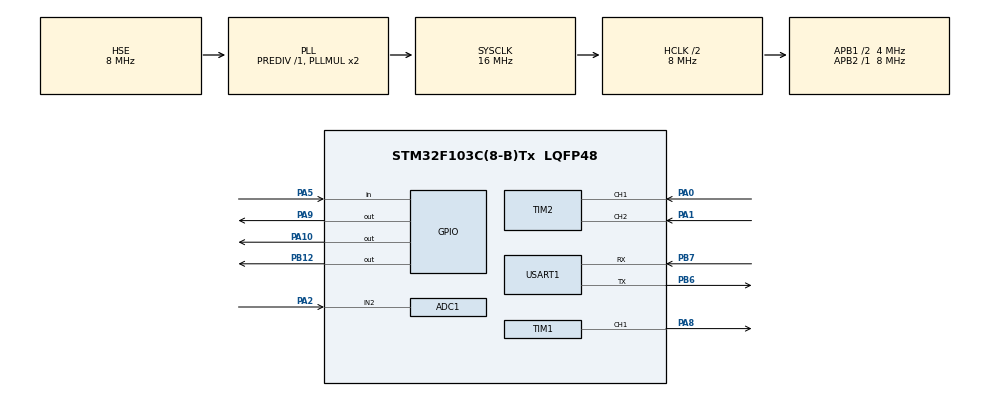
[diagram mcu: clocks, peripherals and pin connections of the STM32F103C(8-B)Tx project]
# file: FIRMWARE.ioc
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ADC1.Channel-4\#ChannelRegularConversion=ADC_CHANNEL_2
ADC1.NbrOfConversionFlag=1
ADC1.Rank-4\#ChannelRegularConversion=1
ADC1.SamplingTime-4\#ChannelRegularConversion=ADC_SAMPLETIME_1CYCLE_5
ADC1.master=1
Mcu.Family=STM32F1
Mcu.Name=STM32F103C(8-B)Tx
Mcu.Package=LQFP48
NVIC.PriorityGroup=NVIC_PRIORITYGROUP_4
NVIC.TIM3_IRQn=true\:0\:0\:false\:false\:true\:true\:true\:true
NVIC.USART1_IRQn=true\:1\:0\:true\:false\:true\:true\:true\:true
PA0-WKUP.Signal=S_TIM2_CH1_ETR
PA1.Signal=S_TIM2_CH2
PA10.Signal=GPIO_Output
PA13.Mode=Serial_Wire
PA13.Signal=SYS_JTMS-SWDIO
PA14.Mode=Serial_Wire
PA14.Signal=SYS_JTCK-SWCLK
PA2.Signal=ADCx_IN2
PA5.GPIO_PuPd=GPIO_PULLUP
PA5.Signal=GPIO_Input
PA8.Signal=S_TIM1_CH1
PA9.Signal=GPIO_Output
PB12.Signal=GPIO_Output
PB6.Mode=Asynchronous
PB6.Signal=USART1_TX
PB7.Mode=Asynchronous
PB7.Signal=USART1_RX
PD0-OSC_IN.Mode=HSE-External-Oscillator
PD0-OSC_IN.Signal=RCC_OSC_IN
PD1-OSC_OUT.Mode=HSE-External-Oscillator
PD1-OSC_OUT.Signal=RCC_OSC_OUT
ProjectManager.HeapSize=0x200
ProjectManager.StackSize=0x400
ProjectManager.TargetToolchain=MDK-ARM V5
RCC.ADCPresc=RCC_ADCPCLK2_DIV6
RCC.AHBCLKDivider=RCC_SYSCLK_DIV2
RCC.AHBFreq_Value=8000000
RCC.APB1CLKDivider=RCC_HCLK_DIV2
RCC.APB1Freq_Value=4000000
RCC.APB1TimFreq_Value=8000000
RCC.APB2Freq_Value=8000000
RCC.APB2TimFreq_Value=8000000
RCC.HCLKFreq_Value=8000000
RCC.PLLSourceVirtual=RCC_PLLSOURCE_HSE
RCC.SYSCLKFreq_VALUE=16000000
RCC.SYSCLKSource=RCC_SYSCLKSOURCE_PLLCLK
RCC.USBFreq_Value=16000000
SH.ADCx_IN2.0=ADC1_IN2,IN2
SH.S_TIM1_CH1.0=TIM1_CH1,PWM Generation1 CH1
SH.S_TIM2_CH1_ETR.0=TIM2_CH1,Encoder_Interface
SH.S_TIM2_CH2.0=TIM2_CH2,Encoder_Interface
TIM1.Channel-PWM\ Generation1\ CH1=TIM_CHANNEL_1
TIM1.Period=999
TIM1.Prescaler=79
TIM3.Period=49
TIM3.Prescaler=7999
USART1.VirtualMode=VM_ASYNC
VP_TIM3_VS_ClockSourceINT.Mode=Internal
board=custom

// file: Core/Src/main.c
/* USER CODE BEGIN Header */
/**
  ******************************************************************************
  * @file           : main.c
  * @brief          : Main program body
  ******************************************************************************
  * @attention
  *
  * Copyright (c) 2023 STMicroelectronics.
  * All rights reserved.
  *
  * This software is licensed under terms that can be found in the LICENSE file
  * in the root directory of this software component.
  * If no LICENSE file comes with this software, it is provided AS-IS.
  *
  ******************************************************************************
  */
/* USER CODE END Header */
#include "main.h"
#include "adc.h"
#include "tim.h"
#include "usart.h"
#include "gpio.h"

/* USER CODE BEGIN Includes */
#include "stdbool.h"
#include "string.h"
#include "stdio.h"
#include "math.h"
#include "stdlib.h"

/* USER CODE END Includes */

void SystemClock_Config(void);

/* USER CODE BEGIN 0 */
int BUFF_SIZE = 18;

uint8_t nRxData[18];
uint8_t nTxData[18];
uint8_t strCommand[4];
uint8_t strOpt[3];
uint8_t strData[8];
uint8_t Rx_Index = 0;
uint8_t Tx_Index = 0;
uint8_t Rx_flag = 0;
uint8_t Rx_data;
uint8_t data[8];

uint8_t STX[] = {0x02};
uint8_t ETX[] = {0x03};
uint8_t ACK[] = {0x06};
uint8_t SYN[] = {0x16};

uint8_t Closed[] = {0x43, 0x4C, 0x4F, 0x53};

uint8_t MOVL[] = {0x4D, 0x4F, 0x56, 0x4C};
uint8_t GPOS[] = {0x47, 0x50, 0x4F, 0x53};
uint8_t GSTT[] = {0x47, 0x53, 0x54, 0x54};
uint8_t GVEL[] = {0x47, 0x56, 0x45, 0x4C};
uint8_t NUL[] = {0x4E, 0x55, 0x4C, 0x4C};

bool bDataAvailable = false;

uint8_t eLED[] = {0x65, 0x4C, 0x45, 0x44};
uint8_t dLED[] = {0x64, 0x4C, 0x45, 0x44};
uint8_t bONN[] = {0x62, 0x4F, 0x4E, 0x4E};
uint8_t	bOFF[] = {0x62, 0x4F, 0x46, 0x46};
uint8_t bTOG[] = {0x62, 0x54, 0x4F, 0x47};
bool bLed = false;
bool bToggle = false;

uint8_t eBTN[] = {0x65, 0x42, 0x54, 0x4E};
uint8_t dBTN[] = {0x64, 0x42, 0x54, 0x4E};
uint8_t Btn_SingleClick[] = {0x53, 0x69, 0x6E, 0x67, 0x63, 0x6C, 0x69, 0x63};
uint8_t Btn_LongClick[] = {0x4C, 0x6F, 0x6E, 0x67, 0x63, 0x6C, 0x69, 0x63};
uint8_t Present_State_Btn;
uint8_t Next_State_Btn;
bool bBtn = false;
bool bSingleClick = false;
bool bLongClick = false;

uint8_t eLIG[] = {0x65, 0x4C, 0x49, 0x47};
uint8_t dLIG[] = {0x64, 0x4C, 0x49, 0x47};
uint8_t rLIG[] = {0x52, 0x55, 0x4E};
uint8_t sLIG[] = {0x53, 0x54, 0x4F};
uint16_t ADC_value;
char Light_Sensor[8];
bool bLight = false;

uint8_t ePWM[] = {0x65, 0x50, 0x57, 0x4D};
uint8_t dPWM[] = {0x64, 0x50, 0x57, 0x4D};
uint8_t bSET[] = {0x53, 0x45, 0x54};
uint8_t Duty;
int32_t counter_speed, counter_speed_last;
int CCR, ARR;
float speed;
bool bPwm = false;

bool StrCompare(uint8_t *pBuff, uint8_t *Sample, uint8_t nSize)
{
	for (int i=0; i< nSize; i++)
	{
		if (pBuff[i] != Sample[i])
		{
			return false;
		}
	}
	return true;
}

uint8_t *subString(uint8_t *s, int pos, int index)
{
	memset(data,0,sizeof(data));
	int j = pos;
	int k = pos + index;
	for (int i = pos; i < k; i++)
	{
		data[i-j] = s[i];
	}
	return data;
}

bool ReadComm(uint8_t *pBuff, uint8_t nSize)
{
	if ((pBuff[0] == STX[0]) && (pBuff[17] == ETX[0]))
	{
		memcpy(strCommand, subString(pBuff, 1, 4), 4);
		memcpy(strOpt, subString(pBuff, 5, 3), 3);
		memcpy(strData, subString(pBuff, 8, 8), 8);

		bDataAvailable = true;
	}
	else
	{
		bDataAvailable = false;
	}
	return bDataAvailable;
}

bool WriteComm(uint8_t *pBuff, uint8_t nSize)
{
	return HAL_UART_Transmit(&huart1, pBuff, nSize, 1000);
}
void SerialProcess(void)
{
	Tx_Index = 0;
	if(StrCompare(strCommand, MOVL, 4))
	{
		memcpy(nTxData + Tx_Index, STX, 1);
		Tx_Index +=1;
		memcpy(nTxData + Tx_Index, (uint8_t *)strCommand, 4);
		Tx_Index +=4;
		memcpy(nTxData + Tx_Index, (uint8_t *)strOpt, 3);
		Tx_Index +=3;
		memcpy(nTxData + Tx_Index, (uint8_t *)strData, 8);
		Tx_Index +=8;
		memcpy(nTxData + Tx_Index, ACK, 1);
		Tx_Index +=1;
		memcpy(nTxData + Tx_Index, ETX, 1);

		WriteComm(nTxData, BUFF_SIZE);
	}
	else if (StrCompare(strCommand, GPOS, 4))
	{
		memcpy(nTxData + Tx_Index, STX, 1);
		Tx_Index +=1;
		memcpy(nTxData + Tx_Index, (uint8_t *)strCommand, 4);
		Tx_Index +=4;
		memcpy(nTxData + Tx_Index, (uint8_t *)strOpt, 3);
		Tx_Index +=3;
		memcpy(nTxData + Tx_Index, (uint8_t *)strData, 8);
		Tx_Index +=8;
		memcpy(nTxData + Tx_Index, ACK, 1);
		Tx_Index +=1;
		memcpy(nTxData + Tx_Index, ETX, 1);

		WriteComm(nTxData, BUFF_SIZE);
	}
	else if (StrCompare(strCommand, GVEL, 4))
	{
		memcpy(nTxData + Tx_Index, STX, 1);
		Tx_Index +=1;
		memcpy(nTxData + Tx_Index, (uint8_t *)strCommand, 4);
		Tx_Index +=4;
		memcpy(nTxData + Tx_Index, (uint8_t *)strOpt, 3);
		Tx_Index +=3;
		memcpy(nTxData + Tx_Index, (uint8_t *)strData, 8);
		Tx_Index +=8;
		memcpy(nTxData + Tx_Index, ACK, 1);
		Tx_Index +=1;
		memcpy(nTxData + Tx_Index, ETX, 1);

		WriteComm(nTxData, BUFF_SIZE);
	}
	else if (StrCompare(strCommand, GSTT, 4))
	{
		memcpy(nTxData + Tx_Index, STX, 1);
		Tx_Index +=1;
		memcpy(nTxData + Tx_Index, (uint8_t *)strCommand, 4);
		Tx_Index +=4;
		memcpy(nTxData + Tx_Index, (uint8_t *)strOpt, 3);
		Tx_Index +=3;
		memcpy(nTxData + Tx_Index, (uint8_t *)strData, 8);
		Tx_Index +=8;
		memcpy(nTxData + Tx_Index, ACK, 1);
		Tx_Index +=1;
		memcpy(nTxData + Tx_Index, ETX, 1);

		WriteComm(nTxData, BUFF_SIZE);
	}
	else if(StrCompare(strCommand, eLED, 4))
	{
		memcpy(nTxData + Tx_Index, STX, 1);
		Tx_Index +=1;
		memcpy(nTxData + Tx_Index, (uint8_t *)strCommand, 4);
		Tx_Index +=4;
		memcpy(nTxData + Tx_Index, (uint8_t *)strOpt, 3);
		Tx_Index +=3;
		memcpy(nTxData + Tx_Index, (uint8_t *)strData, 8);
		Tx_Index +=8;
		memcpy(nTxData + Tx_Index, ACK, 1);
		Tx_Index +=1;
		memcpy(nTxData + Tx_Index, ETX, 1);

		WriteComm(nTxData, BUFF_SIZE);
	}
	else if(StrCompare(strCommand, dLED, 4))
	{
		memcpy(nTxData + Tx_Index, STX, 1);
		Tx_Index +=1;
		memcpy(nTxData + Tx_Index, (uint8_t *)strCommand, 4);
		Tx_Index +=4;
		memcpy(nTxData + Tx_Index, (uint8_t *)strOpt, 3);
		Tx_Index +=3;
		memcpy(nTxData + Tx_Index, (uint8_t *)strData, 8);
		Tx_Index +=8;
		memcpy(nTxData + Tx_Index, ACK, 1);
		Tx_Index +=1;
		memcpy(nTxData + Tx_Index, ETX, 1);

		WriteComm(nTxData, BUFF_SIZE);

		bLed = false;
		bToggle = false;
	}
	else if(StrCompare(strCommand, bONN, 4))
	{
		memcpy(nTxData + Tx_Index, STX, 1);
		Tx_Index +=1;
		memcpy(nTxData + Tx_Index, (uint8_t *)strCommand, 4);
		Tx_Index +=4;
		memcpy(nTxData + Tx_Index, (uint8_t *)strOpt, 3);
		Tx_Index +=3;
		memcpy(nTxData + Tx_Index, (uint8_t *)strData, 8);
		Tx_Index +=8;
		memcpy(nTxData + Tx_Index, ACK, 1);
		Tx_Index +=1;
		memcpy(nTxData + Tx_Index, ETX, 1);

		WriteComm(nTxData, BUFF_SIZE);

		bLed = true;
		bToggle = false;
	}
		else if(StrCompare(strCommand, bOFF, 4))
	{
		memcpy(nTxData + Tx_Index, STX, 1);
		Tx_Index +=1;
		memcpy(nTxData + Tx_Index, (uint8_t *)strCommand, 4);
		Tx_Index +=4;
		memcpy(nTxData + Tx_Index, (uint8_t *)strOpt, 3);
		Tx_Index +=3;
		memcpy(nTxData + Tx_Index, (uint8_t *)strData, 8);
		Tx_Index +=8;
		memcpy(nTxData + Tx_Index, ACK, 1);
		Tx_Index +=1;
		memcpy(nTxData + Tx_Index, ETX, 1);

		WriteComm(nTxData, BUFF_SIZE);

		bLed = false;
		bToggle = false;
	}
	else if(StrCompare(strCommand, bTOG, 4))
	{
		memcpy(nTxData + Tx_Index, STX, 1);
		Tx_Index +=1;
		memcpy(nTxData + Tx_Index, (uint8_t *)strCommand, 4);
		Tx_Index +=4;
		memcpy(nTxData + Tx_Index, (uint8_t *)strOpt, 3);
		Tx_Index +=3;
		memcpy(nTxData + Tx_Index, (uint8_t *)strData, 8);
		Tx_Index +=8;
		memcpy(nTxData + Tx_Index, ACK, 1);
		Tx_Index +=1;
		memcpy(nTxData + Tx_Index, ETX, 1);

		WriteComm(nTxData, BUFF_SIZE);

		bToggle = true;
		bLed = false;
	}
	else if(StrCompare(strCommand, eBTN, 4))
	{
		memcpy(nTxData + Tx_Index, STX, 1);
		Tx_Index +=1;
		memcpy(nTxData + Tx_Index, (uint8_t *)strCommand, 4);
		Tx_Index +=4;
		memcpy(nTxData + Tx_Index, (uint8_t *)strOpt, 3);
		Tx_Index +=3;
		memcpy(nTxData + Tx_Index, (uint8_t *)strData, 8);
		Tx_Index +=8;
		memcpy(nTxData + Tx_Index, ACK, 1);
		Tx_Index +=1;
		memcpy(nTxData + Tx_Index, ETX, 1);

		WriteComm(nTxData, BUFF_SIZE);

		bBtn = true;
	}
	else if(StrCompare(strCommand, dBTN, 4))
	{
		memcpy(nTxData + Tx_Index, STX, 1);
		Tx_Index +=1;
		memcpy(nTxData + Tx_Index, (uint8_t *)strCommand, 4);
		Tx_Index +=4;
		memcpy(nTxData + Tx_Index, (uint8_t *)strOpt, 3);
		Tx_Index +=3;
		memcpy(nTxData + Tx_Index, (uint8_t *)strData, 8);
		Tx_Index +=8;
		memcpy(nTxData + Tx_Index, ACK, 1);
		Tx_Index +=1;
		memcpy(nTxData + Tx_Index, ETX, 1);

		WriteComm(nTxData, BUFF_SIZE);

		bBtn = false;
	}
	else if(StrCompare(strCommand, eLIG, 4))
	{
		memcpy(nTxData + Tx_Index, STX, 1);
		Tx_Index +=1;
		memcpy(nTxData + Tx_Index, (uint8_t *)strCommand, 4);
		Tx_Index +=4;
		memcpy(nTxData + Tx_Index, (uint8_t *)strOpt, 3);
		Tx_Index +=3;
		memcpy(nTxData + Tx_Index, (uint8_t *)strData, 8);
		Tx_Index +=8;
		memcpy(nTxData + Tx_Index, ACK, 1);
		Tx_Index +=1;
		memcpy(nTxData + Tx_Index, ETX, 1);

		WriteComm(nTxData, BUFF_SIZE);

		HAL_Delay(100);

		if(StrCompare(strOpt, rLIG, 3))
			bLight = true;
		else if(StrCompare(strOpt, sLIG, 3))
			bLight = false;
	}
	else if(StrCompare(strCommand, dLIG, 4))
	{
		memcpy(nTxData + Tx_Index, STX, 1);
		Tx_Index +=1;
		memcpy(nTxData + Tx_Index, (uint8_t *)strCommand, 4);
		Tx_Index +=4;
		memcpy(nTxData + Tx_Index, (uint8_t *)strOpt, 3);
		Tx_Index +=3;
		memcpy(nTxData + Tx_Index, (uint8_t *)strData, 8);
		Tx_Index +=8;
		memcpy(nTxData + Tx_Index, ACK, 1);
		Tx_Index +=1;
		memcpy(nTxData + Tx_Index, ETX, 1);

		WriteComm(nTxData, BUFF_SIZE);

		bLight = false;
	}
	else if(StrCompare(strCommand, ePWM, 4))
	{
		memcpy(nTxData + Tx_Index, STX, 1);
		Tx_Index +=1;
		memcpy(nTxData + Tx_Index, (uint8_t *)strCommand, 4);
		Tx_Index +=4;
		memcpy(nTxData + Tx_Index, (uint8_t *)strOpt, 3);
		Tx_Index +=3;
		memcpy(nTxData + Tx_Index, (uint8_t *)strData, 8);
		Tx_Index +=8;
		memcpy(nTxData + Tx_Index, ACK, 1);
		Tx_Index +=1;
		memcpy(nTxData + Tx_Index, ETX, 1);

		WriteComm(nTxData, BUFF_SIZE);

		if(StrCompare(strOpt, bSET, 3))
		{
			bPwm = true;
			Duty = atoi((char *)strData);
		}
	}
	else if(StrCompare(strCommand, dPWM, 4))
	{
		memcpy(nTxData + Tx_Index, STX, 1);
		Tx_Index +=1;
		memcpy(nTxData + Tx_Index, (uint8_t *)strCommand, 4);
		Tx_Index +=4;
		memcpy(nTxData + Tx_Index, (uint8_t *)strOpt, 3);
		Tx_Index +=3;
		memcpy(nTxData + Tx_Index, (uint8_t *)strData, 8);
		Tx_Index +=8;
		memcpy(nTxData + Tx_Index, ACK, 1);
		Tx_Index +=1;
		memcpy(nTxData + Tx_Index, ETX, 1);

		bPwm = false;

		WriteComm(nTxData, BUFF_SIZE);
	}
	else if(StrCompare(strCommand, Closed, 4))
	{
		memcpy(nTxData + Tx_Index, STX, 1);
		Tx_Index +=1;
		memcpy(nTxData + Tx_Index, (uint8_t *)strCommand, 4);
		Tx_Index +=4;
		memcpy(nTxData + Tx_Index, (uint8_t *)strOpt, 3);
		Tx_Index +=3;
		memcpy(nTxData + Tx_Index, (uint8_t *)strData, 8);
		Tx_Index +=8;
		memcpy(nTxData + Tx_Index, ACK, 1);
		Tx_Index +=1;
		memcpy(nTxData + Tx_Index, ETX, 1);

		bLed = false;
		bToggle = false;
		bBtn = false;
		bLight = false;
		bPwm = false;
	}
	else
	{
		memcpy(nTxData + Tx_Index, STX, 1);
		Tx_Index +=1;
		memcpy(nTxData + Tx_Index, NUL, 4);
		Tx_Index +=4;
		memcpy(nTxData + Tx_Index, (uint8_t *)strOpt, 3);
		Tx_Index +=3;
		memcpy(nTxData + Tx_Index, (uint8_t *)strData, 8);
		Tx_Index +=8;
		memcpy(nTxData + Tx_Index, ACK, 1);
		Tx_Index +=1;
		memcpy(nTxData + Tx_Index, ETX, 1);

		WriteComm(nTxData, BUFF_SIZE);
	}
}
void ButtonProcess(void)
{
	Present_State_Btn = HAL_GPIO_ReadPin(GPIOA, GPIO_PIN_5);
	HAL_Delay(10);
	Next_State_Btn = HAL_GPIO_ReadPin(GPIOA, GPIO_PIN_5);
	if(Present_State_Btn == 0 && Next_State_Btn == 0)
	{
		HAL_Delay(500);
		Next_State_Btn = HAL_GPIO_ReadPin(GPIOA, GPIO_PIN_5);
		if(Next_State_Btn == 0)
		{
			bLongClick = true;
		}
		else
		{
			bLongClick = false;
		}
		if(bLongClick == false)
		{
			memcpy(strData,Btn_SingleClick,8);
			SerialProcess();
		}
		else
		{
			while(Next_State_Btn == 0)
			{
				Next_State_Btn = HAL_GPIO_ReadPin(GPIOA, GPIO_PIN_5);
			}
			memcpy(strData,Btn_LongClick,8);
			SerialProcess();
		}
	}
}
void LightSensorProcess(void)
{
	memset(Light_Sensor,0,sizeof(Light_Sensor));
	memset(strData,0,sizeof(strData));
	ADC_value = HAL_ADC_GetValue(&hadc1);
	sprintf(Light_Sensor,"%d\n",ADC_value);
	memcpy(strData,Light_Sensor,8);
	SerialProcess();
}
void HAL_TIM_PeriodElapsedCallback(TIM_HandleTypeDef *htim)
{
//	if(htim->Instance == TIM3)
//	{
//		if(bPwm == true)
//		{
//			counter_speed = TIM2->CNT - counter_speed_last;
//			counter_speed_last = TIM2->CNT;
//		}
//		else if(bPwm == false)
//		{
//			TIM2->CNT = 0;
//			counter_speed_last = 0;
//		}
//	}
}
void HAL_UART_RxCpltCallback(UART_HandleTypeDef *huart)
{
	if (huart->Instance == huart1.Instance)
	{
		if(Rx_data != 0x03)
			nRxData[Rx_Index++] = Rx_data;
		else if(Rx_data == 0x03)
		{
			nRxData[17] = Rx_data;
			Rx_flag = 1;
		}
		HAL_UART_Receive_IT(&huart1,&Rx_data,1);
	}
}
/* USER CODE END 0 */

int main(void)
{

  /* MCU Configuration--------------------------------------------------------*/

  /* Reset of all peripherals, Initializes the Flash interface and the Systick. */
  HAL_Init();

  /* Configure the system clock */
  SystemClock_Config();

  /* Initialize all configured peripherals */
  MX_GPIO_Init();
  MX_USART1_UART_Init();
  MX_ADC1_Init();
  MX_TIM1_Init();
  MX_TIM2_Init();
  MX_TIM3_Init();
  /* USER CODE BEGIN 2 */
	HAL_UART_Receive_IT(&huart1,&Rx_data,1);
	HAL_ADC_Start(&hadc1);
	HAL_TIM_PWM_Start(&htim1,TIM_CHANNEL_1);
	HAL_TIM_Encoder_Start(&htim2, TIM_CHANNEL_ALL);
  /* USER CODE END 2 */

  /* Infinite loop */
  while (1)
  {

    /* USER CODE BEGIN 3 */
		if(Rx_flag)
		{
			ReadComm(nRxData, BUFF_SIZE);
			Rx_flag = 0;
			Rx_Index = 0;
		}
		if(bDataAvailable == true)
		{
			SerialProcess();
			bDataAvailable = false;
		}
		if(bLed == true)
		{
			HAL_GPIO_WritePin(GPIOB, GPIO_PIN_12, GPIO_PIN_SET);
		}
		else if(bToggle == true)
		{
			while(!Rx_flag)
			{
				HAL_GPIO_TogglePin(GPIOB, GPIO_PIN_12);
				HAL_Delay(500);
			}
		}
		else
		{
			HAL_GPIO_WritePin(GPIOB, GPIO_PIN_12, GPIO_PIN_RESET);
		}
		if(bBtn == true)
		{
			ButtonProcess();
		}
		if(bLight == true)
		{
			LightSensorProcess();
		}
		if(bPwm == true)
		{
			HAL_GPIO_WritePin(GPIOA, GPIO_PIN_9, GPIO_PIN_SET);
			HAL_GPIO_WritePin(GPIOA, GPIO_PIN_10, GPIO_PIN_RESET);
			ARR = TIM1->ARR;
			CCR = Duty*ARR/100;
			__HAL_TIM_SET_COMPARE(&htim1,TIM_CHANNEL_1,CCR);
			counter_speed = TIM2->CNT - counter_speed_last;
			counter_speed_last = TIM2->CNT;
			speed = (float)counter_speed*(60000)/(50*1950);
		}
		else
		{
			Duty = 0;
			ARR = TIM1->ARR;
			CCR = Duty*ARR/100;
			__HAL_TIM_SET_COMPARE(&htim1,TIM_CHANNEL_1,CCR);
			HAL_GPIO_WritePin(GPIOA, GPIO_PIN_9, GPIO_PIN_RESET);
			HAL_GPIO_WritePin(GPIOA, GPIO_PIN_10, GPIO_PIN_RESET);
			TIM2->CNT = 0;
			counter_speed_last = 0;
		}
  }
  /* USER CODE END 3 */
}

void SystemClock_Config(void)
{
  RCC_OscInitTypeDef RCC_OscInitStruct = {0};
  RCC_ClkInitTypeDef RCC_ClkInitStruct = {0};
  RCC_PeriphCLKInitTypeDef PeriphClkInit = {0};

  /** Initializes the RCC Oscillators according to the specified parameters
  * in the RCC_OscInitTypeDef structure.
  */
  RCC_OscInitStruct.OscillatorType = RCC_OSCILLATORTYPE_HSE;
  RCC_OscInitStruct.HSEState = RCC_HSE_ON;
  RCC_OscInitStruct.HSEPredivValue = RCC_HSE_PREDIV_DIV1;
  RCC_OscInitStruct.HSIState = RCC_HSI_ON;
  RCC_OscInitStruct.PLL.PLLState = RCC_PLL_ON;
  RCC_OscInitStruct.PLL.PLLSource = RCC_PLLSOURCE_HSE;
  RCC_OscInitStruct.PLL.PLLMUL = RCC_PLL_MUL2;
  if (HAL_RCC_OscConfig(&RCC_OscInitStruct) != HAL_OK)
  {
    Error_Handler();
  }

  /** Initializes the CPU, AHB and APB buses clocks
  */
  RCC_ClkInitStruct.ClockType = RCC_CLOCKTYPE_HCLK|RCC_CLOCKTYPE_SYSCLK
                              |RCC_CLOCKTYPE_PCLK1|RCC_CLOCKTYPE_PCLK2;
  RCC_ClkInitStruct.SYSCLKSource = RCC_SYSCLKSOURCE_PLLCLK;
  RCC_ClkInitStruct.AHBCLKDivider = RCC_SYSCLK_DIV2;
  RCC_ClkInitStruct.APB1CLKDivider = RCC_HCLK_DIV2;
  RCC_ClkInitStruct.APB2CLKDivider = RCC_HCLK_DIV1;

  if (HAL_RCC_ClockConfig(&RCC_ClkInitStruct, FLASH_LATENCY_0) != HAL_OK)
  {
    Error_Handler();
  }
  PeriphClkInit.PeriphClockSelection = RCC_PERIPHCLK_ADC;
  PeriphClkInit.AdcClockSelection = RCC_ADCPCLK2_DIV6;
  if (HAL_RCCEx_PeriphCLKConfig(&PeriphClkInit) != HAL_OK)
  {
    Error_Handler();
  }
}

void Error_Handler(void)
{
  __disable_irq();
  while (1)
  {
  }
}
